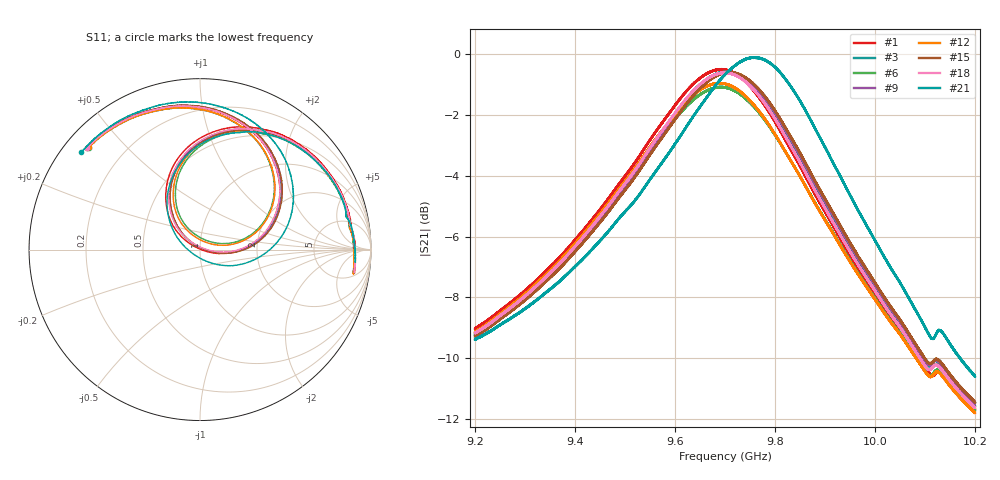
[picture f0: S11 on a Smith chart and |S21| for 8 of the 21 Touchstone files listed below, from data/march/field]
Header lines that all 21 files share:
!Agilent Technologies,N5242A,MY51221714,A.09.90.19
!Agilent N5242A: A.09.90.19
!Correction: S11(Full 2 Port(1,2))
!S21(Full 2 Port(1,2))
!S12(Full 2 Port(1,2))
!S22(Full 2 Port(1,2))
!S2P File: Measurements: S11, S21, S12, S22:
# Hz S  dB  R 50
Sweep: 9.2 GHz to 10.2 GHz
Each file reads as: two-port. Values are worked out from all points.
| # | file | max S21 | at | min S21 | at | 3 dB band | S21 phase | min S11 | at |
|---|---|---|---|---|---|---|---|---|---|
| 1 | b0_1.s2p | -0.48 dB | 9.693 GHz | -11.7 dB | 10.2 GHz | 9.524 GHz-9.843 GHz | -117 deg at 9.7 GHz | -52.7 dB | 9.693 GHz |
| 2 | b0_2.s2p | -0.49 dB | 9.699 GHz | -11.6 dB | 10.2 GHz | 9.531 GHz-9.85 GHz | -114 deg at 9.7 GHz | -48.8 dB | 9.701 GHz |
| 3 | b12_1.s2p | -0.57 dB | 9.699 GHz | -11.6 dB | 10.2 GHz | 9.531 GHz-9.853 GHz | -114 deg at 9.7 GHz | -38.9 dB | 9.703 GHz |
| 4 | b12_2.s2p | -1.49 dB | 9.676 GHz | -11.9 dB | 10.2 GHz | 9.49 GHz-9.847 GHz | -121 deg at 9.7 GHz | -21.5 dB | 9.68 GHz |
| 5 | b13_1.s2p | -0.57 dB | 9.701 GHz | -11.5 dB | 10.2 GHz | 9.534 GHz-9.857 GHz | -113 deg at 9.7 GHz | -38.4 dB | 9.706 GHz |
| 6 | b13_2.s2p | -1.06 dB | 9.693 GHz | -11.7 dB | 10.2 GHz | 9.512 GHz-9.852 GHz | -117 deg at 9.7 GHz | -24.0 dB | 9.695 GHz |
| 7 | b14_1.s2p | -0.57 dB | 9.704 GHz | -11.5 dB | 10.2 GHz | 9.535 GHz-9.857 GHz | -112 deg at 9.7 GHz | -38.9 dB | 9.706 GHz |
| 8 | b14_2.s2p | -0.83 dB | 9.689 GHz | -11.8 dB | 10.2 GHz | 9.518 GHz-9.848 GHz | -117 deg at 9.7 GHz | -28.1 dB | 9.695 GHz |
| 9 | b15_1.s2p | -0.58 dB | 9.708 GHz | -11.5 dB | 10.2 GHz | 9.537 GHz-9.859 GHz | -112 deg at 9.7 GHz | -38.4 dB | 9.709 GHz |
| 10 | b15_2.s2p | -0.97 dB | 9.693 GHz | -11.7 dB | 10.2 GHz | 9.514 GHz-9.851 GHz | -117 deg at 9.7 GHz | -24.9 dB | 9.695 GHz |
| 11 | b16_1.s2p | -0.57 dB | 9.709 GHz | -11.5 dB | 10.2 GHz | 9.54 GHz-9.861 GHz | -111 deg at 9.7 GHz | -39.8 dB | 9.711 GHz |
| 12 | b16_2.s2p | -0.94 dB | 9.687 GHz | -11.8 dB | 10.2 GHz | 9.512 GHz-9.847 GHz | -118 deg at 9.7 GHz | -25.7 dB | 9.691 GHz |
| 13 | b17_1.s2p | -0.58 dB | 9.709 GHz | -11.5 dB | 10.2 GHz | 9.537 GHz-9.859 GHz | -112 deg at 9.7 GHz | -39.5 dB | 9.709 GHz |
| 14 | b17_2.s2p | -1.22 dB | 9.69 GHz | -11.8 dB | 10.2 GHz | 9.505 GHz-9.851 GHz | -118 deg at 9.7 GHz | -22.5 dB | 9.69 GHz |
| 15 | b18_1.s2p | -0.58 dB | 9.707 GHz | -11.5 dB | 10.2 GHz | 9.539 GHz-9.861 GHz | -111 deg at 9.7 GHz | -39.7 dB | 9.711 GHz |
| 16 | b18_2.s2p | -0.58 dB | 9.705 GHz | -11.5 dB | 10.2 GHz | 9.537 GHz-9.859 GHz | -112 deg at 9.7 GHz | -38.3 dB | 9.709 GHz |
| 17 | c1_1.s2p | -0.58 dB | 9.696 GHz | -11.7 dB | 10.2 GHz | 9.526 GHz-9.848 GHz | -116 deg at 9.7 GHz | -38.0 dB | 9.698 GHz |
| 18 | c1_2.s2p | -0.59 dB | 9.697 GHz | -11.6 dB | 10.2 GHz | 9.53 GHz-9.851 GHz | -115 deg at 9.7 GHz | -37.3 dB | 9.701 GHz |
| 19 | c2_1.s2p | -0.58 dB | 9.697 GHz | -11.7 dB | 10.2 GHz | 9.528 GHz-9.85 GHz | -115 deg at 9.7 GHz | -36.1 dB | 9.699 GHz |
| 20 | c2_2.s2p | -0.76 dB | 9.687 GHz | -11.8 dB | 10.2 GHz | 9.517 GHz-9.845 GHz | -118 deg at 9.7 GHz | -29.5 dB | 9.691 GHz |
| 21 | fp.s2p | -0.09 dB | 9.761 GHz | -10.6 dB | 10.2 GHz | 9.594 GHz-9.901 GHz | -93 deg at 9.7 GHz | -27.5 dB | 9.758 GHz |
